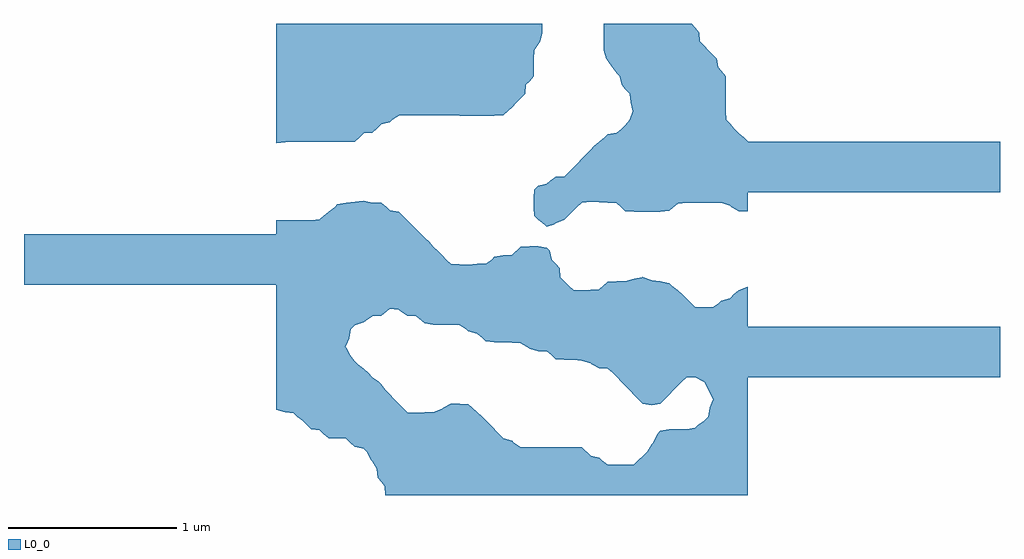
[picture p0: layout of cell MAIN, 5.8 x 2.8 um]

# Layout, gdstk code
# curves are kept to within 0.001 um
import gdstk
lib = gdstk.Library(unit=1e-6, precision=1e-09)
def R(c, l, rs):  # rectangles x0, y0, x1, y1
    for r in rs: c.add(gdstk.rectangle(r[:2], r[2:], *l))
def P(c, l, *ps):  # polygons
    for p in ps: c.add(gdstk.Polygon(p, *l))
L0_0 = (0, 0)

main = lib.new_cell('MAIN')
R(main, L0_0, [(1.4,-0.7,2.9,-0.4), (-2.9,-0.15,-1.4,0.15), (1.4,0.4,2.9,0.7)])
P(main, L0_0, [(-1.348,0.698),(-1.296,0.7),(-0.933,0.701),(-0.881,0.749),(-0.83,0.753),(-0.778,0.803),(-0.726,0.815),(-0.711,0.83),(-0.674,0.855),(-0.052,0.856),(0.028,0.933),(0.078,0.985),(0.083,1.037),(0.128,1.089),(0.13,1.193),(0.133,1.244),(0.156,1.28),(0.169,1.296),(0.18,1.348),(0.181,1.4),(-1.4,1.4),(-1.4,0.69)],
  [(0.244,0.207),(0.311,0.235),(0.384,0.311),(0.415,0.338),(0.467,0.344),(0.57,0.337),(0.622,0.335),(0.674,0.288),(0.726,0.285),(0.881,0.285),(0.933,0.291),(0.985,0.332),(1.037,0.337),(1.193,0.337),(1.244,0.336),(1.296,0.318),(1.305,0.311),(1.348,0.288),(1.4,0.286),(1.4,0.703),(1.321,0.778),(1.274,0.83),(1.271,0.881),(1.27,1.089),(1.244,1.123),(1.227,1.141),(1.217,1.193),(1.116,1.296),(1.113,1.348),(1.067,1.4),(0.544,1.4),(0.545,1.244),(0.559,1.193),(0.57,1.181),(0.596,1.141),(0.622,1.107),(0.64,1.089),(0.651,1.037),(0.7,0.985),(0.705,0.933),(0.718,0.881),(0.701,0.83),(0.674,0.799),(0.653,0.778),(0.622,0.752),(0.57,0.745),(0.551,0.726),(0.487,0.674),(0.389,0.57),(0.311,0.493),(0.259,0.491),(0.226,0.467),(0.207,0.449),(0.156,0.438),(0.132,0.415),(0.129,0.363),(0.129,0.311),(0.133,0.259),(0.156,0.236),(0.194,0.207),(0.207,0.194)],
  [(-1.348,-0.907),(-1.296,-0.914),(-1.277,-0.933),(-1.244,-0.959),(-1.193,-1.01),(-1.141,-1.015),(-1.089,-1.062),(-0.985,-1.065),(-0.933,-1.113),(-0.881,-1.124),(-0.864,-1.141),(-0.837,-1.193),(-0.83,-1.2),(-0.804,-1.244),(-0.799,-1.296),(-0.756,-1.348),(-0.752,-1.4),(-0.052,-1.4),(-0.052,-1.061),(-0.177,-0.933),(-0.259,-0.859),(-0.311,-0.856),(-0.363,-0.856),(-0.408,-0.881),(-0.415,-0.888),(-0.467,-0.907),(-0.57,-0.911),(-0.622,-0.907),(-0.7,-0.83),(-0.749,-0.778),(-0.778,-0.74),(-0.792,-0.726),(-0.83,-0.699),(-0.881,-0.648),(-0.916,-0.622),(-0.933,-0.605),(-0.961,-0.57),(-0.985,-0.525),(-0.991,-0.519),(-0.985,-0.509),(-0.966,-0.467),(-0.957,-0.415),(-0.933,-0.391),(-0.881,-0.374),(-0.87,-0.363),(-0.83,-0.337),(-0.778,-0.333),(-0.726,-0.294),(-0.674,-0.298),(-0.659,-0.311),(-0.622,-0.335),(-0.57,-0.337),(-0.535,-0.363),(-0.519,-0.379),(-0.467,-0.389),(-0.311,-0.39),(-0.271,-0.415),(-0.259,-0.426),(-0.207,-0.441),(-0.174,-0.467),(-0.156,-0.485),(-0.104,-0.493),(-0.052,-0.493),(-0.052,0.026),(-0.104,0.016),(-0.12,0),(-0.156,-0.026),(-0.207,-0.026),(-0.259,-0.03),(-0.363,-0.026),(-0.415,0.024),(-0.544,0.156),(-0.674,0.284),(-0.726,0.292),(-0.745,0.311),(-0.778,0.337),(-0.83,0.338),(-0.881,0.349),(-0.985,0.337),(-1.037,0.328),(-1.054,0.311),(-1.089,0.285),(-1.12,0.259),(-1.141,0.238),(-1.193,0.233),(-1.4,0.233),(-1.4,-0.892)],
  [(1.4,-0.162),(1.348,-0.182),(1.318,-0.207),(1.296,-0.229),(1.244,-0.244),(1.229,-0.259),(1.193,-0.285),(1.089,-0.283),(0.985,-0.182),(0.948,-0.156),(0.933,-0.141),(0.881,-0.13),(0.83,-0.124),(0.778,-0.103),(0.726,-0.114),(0.674,-0.128),(0.57,-0.131),(0.519,-0.178),(0.415,-0.182),(0.363,-0.18),(0.286,-0.104),(0.284,-0.052),(0.236,0),(0.224,0.052),(0.207,0.069),(0.156,0.079),(0.052,0.075),(0,0.029),(-0.052,0.026),(-0.052,-0.493),(0.052,-0.499),(0.088,-0.519),(0.104,-0.53),(0.156,-0.544),(0.207,-0.545),(0.236,-0.57),(0.259,-0.593),(0.363,-0.597),(0.415,-0.602),(0.467,-0.616),(0.475,-0.622),(0.519,-0.645),(0.57,-0.648),(0.598,-0.674),(0.726,-0.806),(0.778,-0.856),(0.83,-0.866),(0.881,-0.858),(0.985,-0.75),(1.037,-0.701),(1.089,-0.7),(1.14,-0.726),(1.195,-0.83),(1.176,-0.881),(1.166,-0.933),(1.141,-0.959),(1.103,-0.985),(1.089,-0.999),(1.037,-1.01),(0.933,-1.009),(0.881,-1.019),(0.863,-1.037),(0.84,-1.089),(0.83,-1.099),(0.803,-1.141),(0.726,-1.218),(0.674,-1.22),(0.57,-1.219),(0.534,-1.193),(0.519,-1.177),(0.467,-1.166),(0.415,-1.116),(0.052,-1.115),(0.011,-1.089),(0,-1.078),(-0.052,-1.061),(-0.052,-1.4),(1.4,-1.4)])

lib.write_gds('MAIN.gds')
